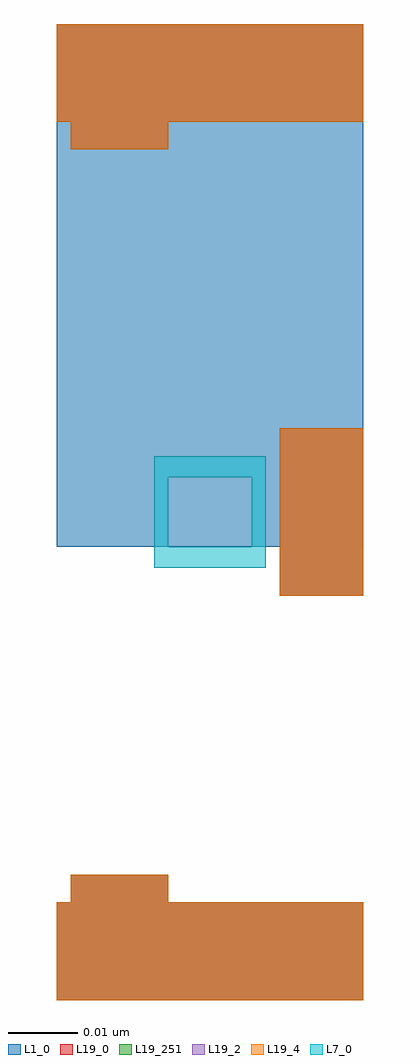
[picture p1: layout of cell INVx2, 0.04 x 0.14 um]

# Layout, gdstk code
import gdstk
lib = gdstk.Library(unit=1e-6, precision=1e-09)
def R(c, l, rs):  # rectangles x0, y0, x1, y1
    for r in rs: c.add(gdstk.rectangle(r[:2], r[2:], *l))
L1_0 = (1, 0)
L7_0 = (7, 0)
L19_0 = (19, 0)
L19_2 = (19, 2)
L19_4 = (19, 4)
L19_251 = (19, 251)

invx2 = lib.new_cell('INVx2')
R(invx2, L1_0, [(0,0.065,0.044,0.14)])
R(invx2, L7_0, [(0.014,0.062,0.03,0.065), (0.014,0.065,0.016,0.075), (0.028,0.065,0.03,0.075), (0.014,0.075,0.03,0.078)])
R(invx2, L19_0, [(0,0,0.044,0.014), (0.002,0.014,0.016,0.018), (0.032,0.058,0.044,0.082), (0.002,0.122,0.016,0.126), (0,0.126,0.044,0.14)])
R(invx2, L19_2, [(0,0,0.044,0.014), (0.002,0.014,0.016,0.018), (0.032,0.058,0.044,0.082), (0.002,0.122,0.016,0.126), (0,0.126,0.044,0.14)])
R(invx2, L19_4, [(0,0,0.044,0.014), (0.002,0.014,0.016,0.018), (0.032,0.058,0.044,0.082), (0.002,0.122,0.016,0.126), (0,0.126,0.044,0.14)])
R(invx2, L19_251, [(0,0,0.044,0.014), (0.002,0.014,0.016,0.018), (0.032,0.058,0.044,0.082), (0.002,0.122,0.016,0.126), (0,0.126,0.044,0.14)])

lib.write_gds('INVx2.gds')
